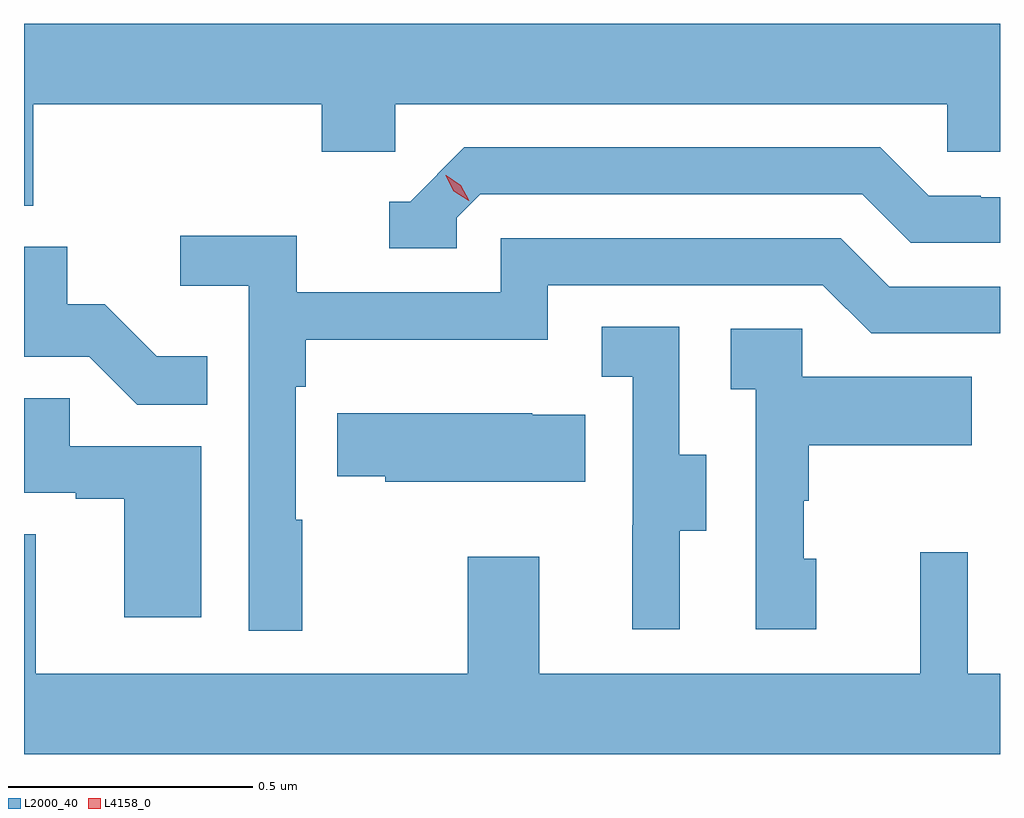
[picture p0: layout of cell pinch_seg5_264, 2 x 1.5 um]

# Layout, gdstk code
import gdstk
lib = gdstk.Library(unit=1e-6, precision=1e-09)
def P(c, l, *ps):  # polygons
    for p in ps: c.add(gdstk.Polygon(p, *l))
L2000_40 = (2000, 40)
L4158_0 = (4158, 0)

pinch_seg5_264 = lib.new_cell('pinch_seg5_264')
P(pinch_seg5_264, L2000_40, [(898.868,911.372),(899.459,911.372),(899.459,911.274),(899.61,911.274),(899.61,911.372),(900.741,911.372),(900.741,911.274),(900.849,911.274),(900.849,911.536),(898.849,911.536),(898.849,911.164),(898.868,911.164)],
  [(899.736,911.139),(899.784,911.187),(900.567,911.187),(900.666,911.088),(900.849,911.088),(900.849,911.181),(900.81,911.181),(900.81,911.184),(900.703,911.184),(900.604,911.283),(899.751,911.283),(899.64,911.172),(899.597,911.172),(899.597,911.076),(899.736,911.076)],
  [(899.419,910.52),(899.406,910.52),(899.406,910.793),(899.426,910.793),(899.426,910.889),(899.922,910.889),(899.922,911.001),(900.486,911.001),(900.585,910.902),(900.849,910.902),(900.849,910.998),(900.622,910.998),(900.523,911.097),(899.826,911.097),(899.826,910.986),(899.408,910.986),(899.408,911.102),(899.169,911.102),(899.169,911),(899.31,911),(899.31,910.293),(899.419,910.293)],
  [(899.225,910.855),(899.121,910.855),(899.014,910.962),(898.938,910.962),(898.938,911.079),(898.849,911.079),(898.849,910.854),(898.983,910.854),(899.081,910.756),(899.225,910.756)],
  [(900.193,910.498),(900.247,910.498),(900.247,910.653),(900.192,910.653),(900.192,910.916),(900.033,910.916),(900.033,910.813),(900.096,910.813),(900.096,910.509),(900.095,910.509),(900.095,910.296),(900.193,910.296)],
  [(900.472,910.44),(900.447,910.44),(900.447,910.559),(900.457,910.559),(900.457,910.673),(900.791,910.673),(900.791,910.813),(900.444,910.813),(900.444,910.911),(900.297,910.911),(900.297,910.787),(900.348,910.787),(900.348,910.296),(900.472,910.296)],
  [(899.212,910.671),(898.943,910.671),(898.943,910.769),(898.849,910.769),(898.849,910.575),(898.955,910.575),(898.955,910.563),(899.054,910.563),(899.054,910.32),(899.212,910.32)],
  [(899.999,910.735),(899.891,910.735),(899.891,910.738),(899.491,910.738),(899.491,910.609),(899.589,910.609),(899.589,910.598),(899.999,910.598)],
  [(900.849,910.204),(900.783,910.204),(900.783,910.453),(900.686,910.453),(900.686,910.204),(899.905,910.204),(899.905,910.444),(899.758,910.444),(899.758,910.204),(898.873,910.204),(898.873,910.49),(898.849,910.49),(898.849,910.04),(900.849,910.04)])
P(pinch_seg5_264, L4158_0, [(899.76,911.174),(899.73,911.193),(899.713,911.225),(899.713,911.226),(899.714,911.226),(899.744,911.206),(899.761,911.174),(899.761,911.174)])

lib.write_gds('pinch_seg5_264.gds')
